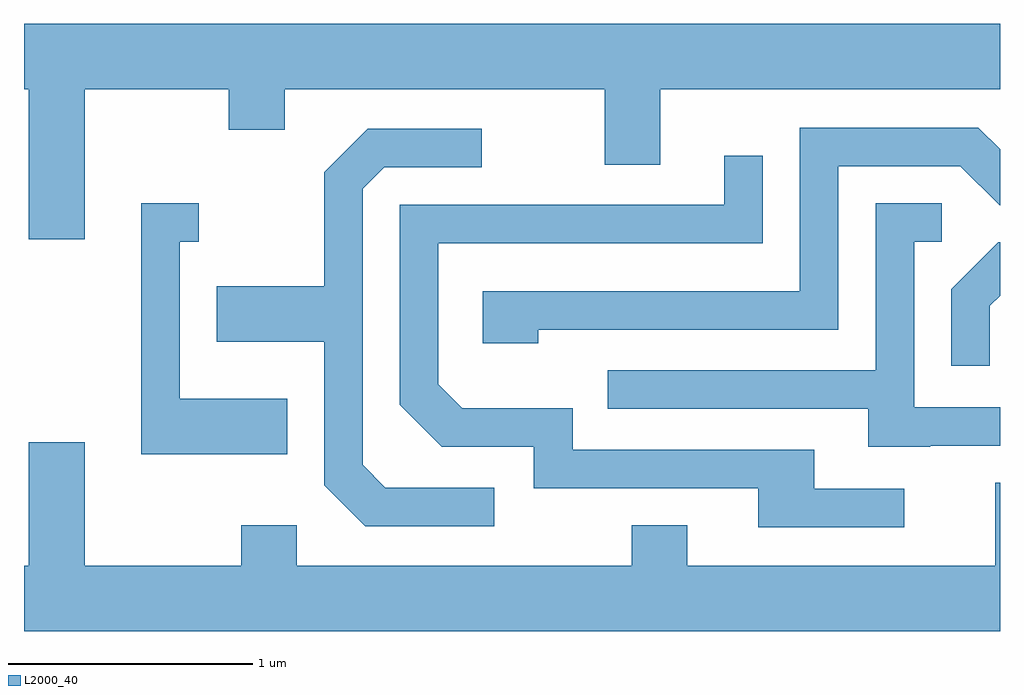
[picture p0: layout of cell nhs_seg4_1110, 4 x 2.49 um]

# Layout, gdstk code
import gdstk
lib = gdstk.Library(unit=1e-6, precision=1e-09)
def P(c, l, *ps):  # polygons
    for p in ps: c.add(gdstk.Polygon(p, *l))
L2000_40 = (2000, 40)

nhs_seg4_1110 = lib.new_cell('nhs_seg4_1110')
P(nhs_seg4_1110, L2000_40, [(217.859,1301.396),(218.451,1301.396),(218.451,1301.231),(218.679,1301.231),(218.679,1301.396),(219.991,1301.396),(219.991,1301.086),(220.219,1301.086),(220.219,1301.396),(221.611,1301.396),(221.611,1301.664),(217.611,1301.664),(217.611,1301.396),(217.631,1301.396),(217.631,1300.781),(217.859,1300.781)],
  [(219.719,1300.411),(220.949,1300.411),(220.949,1301.081),(221.449,1301.081),(221.609,1300.921),(221.611,1300.921),(221.611,1301.15),(221.522,1301.239),(220.791,1301.239),(220.791,1300.569),(219.491,1300.569),(219.491,1300.356),(219.719,1300.356)],
  [(219.538,1299.764),(219.092,1299.764),(218.999,1299.857),(218.999,1300.989),(219.087,1301.076),(219.488,1301.076),(219.488,1301.234),(219.019,1301.234),(218.841,1301.057),(218.841,1300.589),(218.401,1300.589),(218.401,1300.361),(218.841,1300.361),(218.841,1299.774),(219.009,1299.606),(219.538,1299.606)],
  [(221.218,1299.759),(220.849,1299.759),(220.849,1299.919),(219.859,1299.919),(219.859,1300.089),(219.407,1300.089),(219.309,1300.187),(219.309,1300.766),(220.639,1300.766),(220.639,1301.123),(220.481,1301.123),(220.481,1300.924),(219.151,1300.924),(219.151,1300.104),(219.324,1299.931),(219.701,1299.931),(219.701,1299.761),(220.621,1299.761),(220.621,1299.601),(221.218,1299.601)],
  [(218.689,1300.129),(218.249,1300.129),(218.249,1300.771),(218.328,1300.771),(218.328,1300.929),(218.091,1300.929),(218.091,1299.901),(218.689,1299.901)],
  [(221.325,1299.936),(221.611,1299.936),(221.611,1300.094),(221.259,1300.094),(221.259,1300.771),(221.373,1300.771),(221.373,1300.929),(221.101,1300.929),(221.101,1300.244),(220.003,1300.244),(220.003,1300.086),(221.071,1300.086),(221.071,1299.931),(221.325,1299.931)],
  [(221.569,1300.509),(221.611,1300.551),(221.611,1300.769),(221.604,1300.769),(221.411,1300.577),(221.411,1300.263),(221.569,1300.263)],
  [(221.611,1299.784),(221.591,1299.784),(221.591,1299.444),(220.329,1299.444),(220.329,1299.609),(220.101,1299.609),(220.101,1299.444),(218.729,1299.444),(218.729,1299.609),(218.501,1299.609),(218.501,1299.444),(217.859,1299.444),(217.859,1299.949),(217.631,1299.949),(217.631,1299.444),(217.611,1299.444),(217.611,1299.176),(221.611,1299.176)])

lib.write_gds('nhs_seg4_1110.gds')
